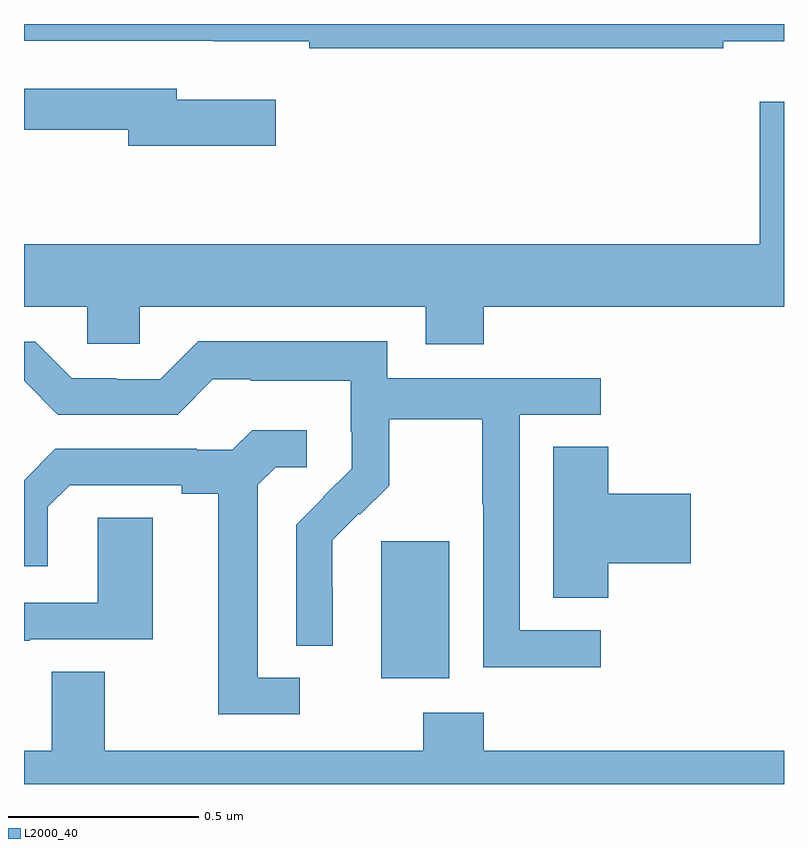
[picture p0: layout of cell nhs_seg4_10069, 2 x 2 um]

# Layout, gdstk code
import gdstk
lib = gdstk.Library(unit=1e-6, precision=1e-09)
def R(c, l, rs):  # rectangles x0, y0, x1, y1
    for r in rs: c.add(gdstk.rectangle(r[:2], r[2:], *l))
def P(c, l, *ps):  # polygons
    for p in ps: c.add(gdstk.Polygon(p, *l))
L2000_40 = (2000, 40)

nhs_seg4_10069 = lib.new_cell('nhs_seg4_10069')
R(nhs_seg4_10069, L2000_40, [(235.94,793.178,236.119,793.539)])
P(nhs_seg4_10069, L2000_40, [(236.84,794.855),(237,794.855),(237,794.9),(235,794.9),(235,794.856),(235.498,794.856),(235.498,794.855),(235.75,794.855),(235.75,794.836),(236.84,794.836)],
  [(235.663,794.701),(235.402,794.701),(235.402,794.73),(235,794.73),(235,794.622),(235.274,794.622),(235.274,794.579),(235.663,794.579)],
  [(236.21,794.156),(237,794.156),(237,794.695),(236.936,794.695),(236.936,794.32),(235,794.32),(235,794.156),(235.167,794.156),(235.167,794.058),(235.305,794.058),(235.305,794.156),(236.057,794.156),(236.057,794.057),(236.21,794.057)],
  [(236.518,793.305),(236.304,793.305),(236.304,793.872),(236.518,793.872),(236.518,793.968),(235.956,793.968),(235.956,794.065),(235.459,794.065),(235.359,793.965),(235.244,793.965),(235.244,793.968),(235.125,793.968),(235.029,794.064),(235,794.064),(235,793.961),(235.089,793.872),(235.404,793.872),(235.497,793.965),(235.597,793.965),(235.597,793.961),(235.86,793.961),(235.86,793.827),(235.862,793.827),(235.862,793.73),(235.788,793.656),(235.789,793.655),(235.716,793.582),(235.716,793.264),(235.812,793.264),(235.812,793.418),(235.811,793.418),(235.811,793.541),(235.881,793.611),(235.884,793.608),(235.961,793.685),(235.961,793.86),(236.206,793.86),(236.206,793.636),(236.208,793.636),(236.208,793.207),(236.518,793.207)],
  [(235.726,793.179),(235.615,793.179),(235.615,793.687),(235.662,793.734),(235.744,793.734),(235.744,793.831),(235.6,793.831),(235.548,793.779),(235.454,793.779),(235.454,793.782),(235.082,793.782),(235,793.7),(235,793.473),(235.063,793.473),(235.063,793.629),(235.12,793.686),(235.415,793.686),(235.415,793.664),(235.511,793.664),(235.511,793.083),(235.726,793.083)],
  [(236.537,793.481),(236.755,793.481),(236.755,793.664),(236.537,793.664),(236.537,793.787),(236.393,793.787),(236.393,793.39),(236.537,793.39)],
  [(235.015,793.281),(235.339,793.281),(235.339,793.601),(235.194,793.601),(235.194,793.377),(235,793.377),(235,793.277),(235.015,793.277)],
  [(237,792.988),(236.21,792.988),(236.21,793.087),(236.05,793.087),(236.05,792.988),(235.213,792.988),(235.213,793.196),(235.073,793.196),(235.073,792.988),(235,792.988),(235,792.9),(237,792.9)])

lib.write_gds('nhs_seg4_10069.gds')
